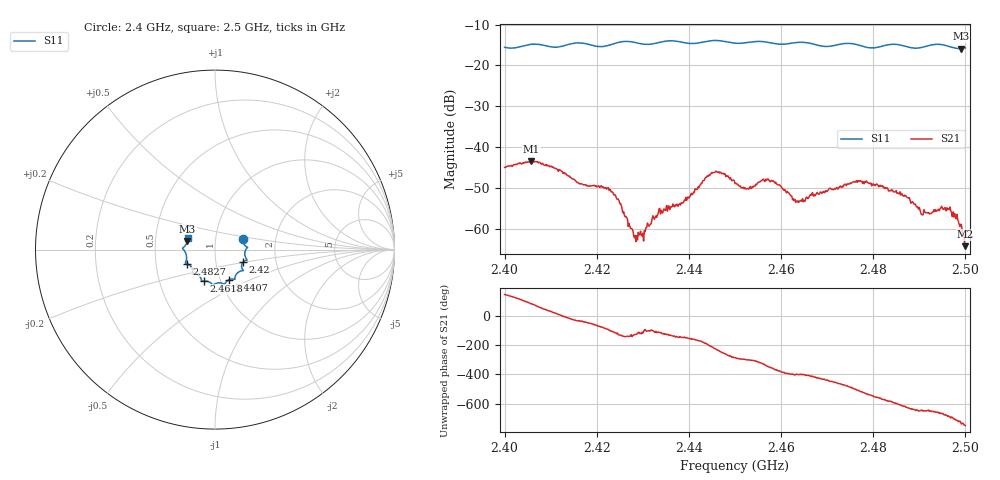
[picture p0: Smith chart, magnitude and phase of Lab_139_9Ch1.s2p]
# Hz S RI R 50
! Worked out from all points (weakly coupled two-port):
!   601 points, 2.4 GHz to 2.5 GHz, reference 50 ohm
!   highest |S21| = -43.54 dB at 2.4058 GHz (marker M1); lowest = -64.3 dB at 2.5 GHz (marker M2)
!   lowest |S11| = -15.9 dB at 2.499 GHz (marker M3), VSWR 1.38, Z = 36.6 + j3.6 ohm
!   |S11| at or under -10 dB: start of sweep to end of sweep
!   S12 and S22 are empty: the file has one direction only
!   S11 on the Smith chart (normalised r, x): 2.4 GHz: 1.35, +0.17; 2.42 GHz: 1.36, -0.19; 2.4407 GHz: 1.10, -0.38; 2.4618 GHz: 0.83, -0.30; 2.4827 GHz: 0.72, -0.12; 2.5 GHz: 0.73, +0.09
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2.4e9  0.1548 0.0618  -0.00486 0.00278  0 0  0 0
2.405833e9  0.1808 0.0128  0.000485 0.00663  0 0  0 0
2.416667e9  0.1786 -0.0587  0.00288 -0.00205  0 0  0 0
2.42e9  0.1566 -0.0689  0.00143 -0.00291  0 0  0 0
2.424333e9  0.1535 -0.1105  -0.00113 -0.00202  0 0  0 0
2.428333e9  0.1502 -0.1176  -0.000461 -0.000681  0 0  0 0
2.433333e9  0.1118 -0.153  -0.00047 -0.00146  0 0  0 0
2.440667e9  0.0793 -0.1674  -0.00236 -0.00108  0 0  0 0
2.4455e9  0.0533 -0.1947  -0.00372 0.00311  0 0  0 0
2.45e9  0.0269 -0.1851  0.000878 0.00346  0 0  0 0
2.4525e9  0.00203 -0.1901  0.00147 0.00268  0 0  0 0
2.4575e9  -0.0206 -0.1887  0.00373 0.000646  0 0  0 0
2.461833e9  -0.0614 -0.175  0.00214 -0.00155  0 0  0 0
2.463667e9  -0.0729 -0.1771  0.00167 -0.00141  0 0  0 0
2.466667e9  -0.076 -0.168  0.00152 -0.00219  0 0  0 0
2.476833e9  -0.1246 -0.1258  -0.00323 -0.00193  0 0  0 0
2.482667e9  -0.1581 -0.0777  -0.00254 0.00188  0 0  0 0
2.483333e9  -0.162 -0.0765  -0.00214 0.00193  0 0  0 0
2.490833e9  -0.1671 -0.0114  0.000457 0.0014  0 0  0 0
2.4965e9  -0.1694 0.0182  0.00149 0.000836  0 0  0 0
2.499e9  -0.1533 0.048  0.0011 -0.000247  0 0  0 0
2.5e9  -0.1514 0.0629  0.000522 -0.000312  0 0  0 0
